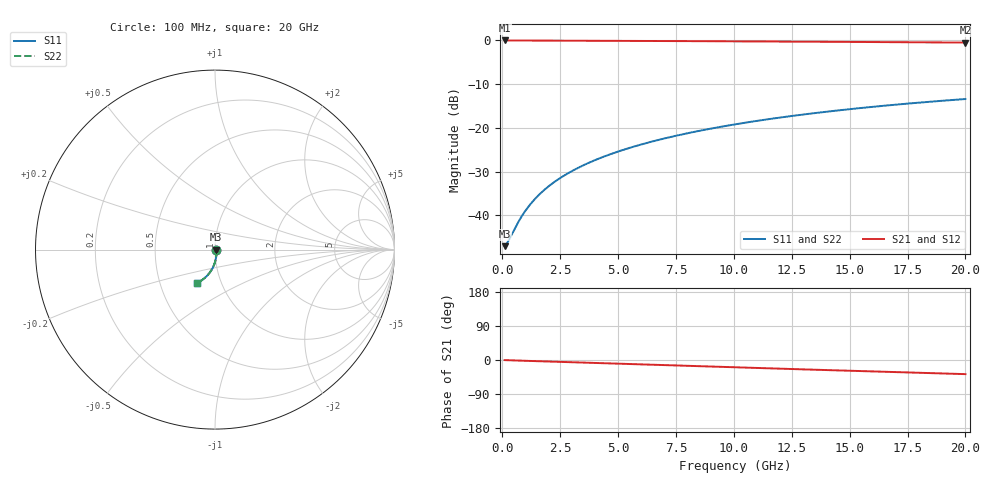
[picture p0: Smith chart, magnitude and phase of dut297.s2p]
! Touchstone file exported from HFSS 2026.1.0
!  File:  C:/ffzhzh/LocalFiles/Ansys_Project_Files/temp_train_BSMRDL_297_1782989395_6248.aedt
!  Generated:  06:51:12 PM Jul  2, 2026
!  Design:  BSMRDL
!  Project:  temp_train_BSMRDL_297_1782989395_6248
! Variables:
!  h_bsmrdl = 3.23um
!  h_ox = 20um
!  h_rdl = 5um
!  h_sub = 80um
!  h_tmrdl = 5um
!  h_tsv = 80um
!  h_via = 3um
!  l_bsmrdl = 611.5um
!  l_sub = 1011.5um
!  l_tmrdl = 200um
!  m_sub = 200um
!  pitch = 17.13um
!  r_tsv = 6um
!  s_tmrdl = 10um
!  w_bsmrdl = 15.85um
!  w_sub = 500um
!  w_tmrdl = 12um
!  x_tsv_center1 = 206um
!  x_tsv_center2 = 833.35um
!  x_tsv_center3 = 1045.35um
!  x_tsv_center4 = 1672.7um
!  x_tsv_center5 = 1884.7um
!  x_tsv_center6 = 2512.05um
# GHz S MA R 50.000000
! Terminal data exported
! Port[1] = BSM_RDL1_1_T1
! Port[2] = BSM_RDL1_1_T2
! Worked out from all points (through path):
!   200 points, 100 MHz to 20 GHz, reference 50 ohm
!   highest |S21| = -0.04 dB at 100 MHz (marker M1); lowest = -0.5 dB at 20 GHz (marker M2)
!   group delay of S21, straight-line fit = 5.16 ps
!   lowest |S11| = -47.0 dB at 100 MHz (marker M3), VSWR 1.01, Z = 50.4 - j0.0285 ohm
!   |S11| at or under -10 dB: start of sweep to end of sweep
!   |S22| runs from -47.0 to -13.4 dB; largest |S21 - S12| = 4.6e-15
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0.1  0.004451 -3.6  0.9956 -0.2  0.9956 -0.2  0.004451 -3.6
! Gamma 0 0 0 0
! Port Impedance 50 0 50 0
0.2  0.004795 -7.9  0.9952 -0.5  0.9952 -0.5  0.004795 -7.9
0.3  0.005322 -12.8  0.9948 -0.7  0.9948 -0.7  0.005322 -12.8
0.6  0.007586 -28.8  0.9933 -1.3  0.9933 -1.3  0.007586 -28.9
0.9  0.01034 -42.1  0.9921 -1.9  0.9921 -1.9  0.01034 -42.1
1.2  0.01328 -51.7  0.9913 -2.5  0.9913 -2.5  0.01328 -51.7
1.5  0.01632 -58.7  0.9907 -3.1  0.9907 -3.1  0.01632 -58.7
1.9  0.02044 -65.3  0.9901 -3.8  0.9901 -3.8  0.02044 -65.3
2.4  0.02567 -71.1  0.9894 -4.8  0.9894 -4.8  0.02567 -71.1
2.9  0.03095 -75.2  0.9887 -5.8  0.9887 -5.8  0.03095 -75.2
3.5  0.03735 -79.0  0.9878 -6.9  0.9878 -6.9  0.03735 -79.0
4.2  0.04489 -82.3  0.9867 -8.3  0.9867 -8.3  0.04488 -82.3
5  0.05358 -85.4  0.9852 -9.8  0.9852 -9.8  0.05358 -85.4
5.9  0.06346 -88.3  0.9834 -11.5  0.9834 -11.5  0.06345 -88.3
6.8  0.07341 -90.8  0.9814 -13.2  0.9814 -13.2  0.0734 -90.8
8.4  0.09122 -94.8  0.9775 -16.2  0.9775 -16.2  0.09121 -94.8
10.1  0.1102 -98.7  0.9729 -19.4  0.9729 -19.4  0.1101 -98.7
11.7  0.1278 -102.2  0.9683 -22.4  0.9683 -22.4  0.1278 -102.2
13.4  0.1464 -105.7  0.9632 -25.5  0.9632 -25.5  0.1463 -105.7
15  0.1634 -109.0  0.9582 -28.4  0.9582 -28.4  0.1633 -109.0
16.7  0.181 -112.3  0.9527 -31.4  0.9527 -31.4  0.1809 -112.4
20  0.2134 -118.7  0.9415 -37.3  0.9415 -37.3  0.2133 -118.7
